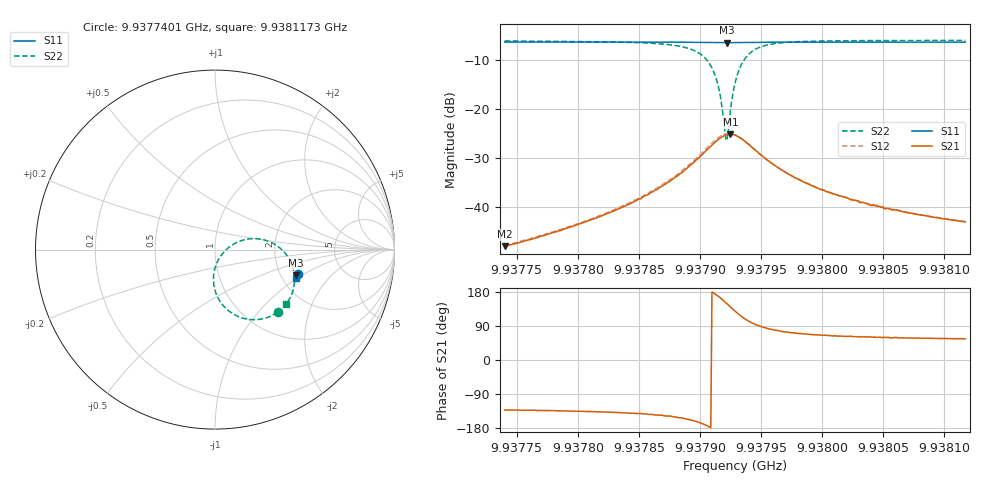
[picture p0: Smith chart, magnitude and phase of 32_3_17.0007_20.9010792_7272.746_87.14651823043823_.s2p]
#  HZ  S  RI  R  50.00
! Rohde & Schwarz Vector Network Analyzer
! Rohde-Schwarz,ZNB20-2Port,1311601062101988,3.16
! Created: UTC 3/20/2024, 10:53:27 PM
! freq[Hz]  re:S11  im:S11  re:S21  im:S21  re:S12  im:S12  re:S22  im:S22
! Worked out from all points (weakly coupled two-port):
!   401 points, 9.9377401 GHz to 9.9381173 GHz, reference 50 ohm
!   highest |S21| = -25.17 dB at 9.9379249 GHz (marker M1); lowest = -48.0 dB at 9.9377401 GHz (marker M2)
!   lowest |S11| = -6.5 dB at 9.9379221 GHz (marker M3), VSWR 2.80, Z = 121 - j44.9 ohm
!   |S11| at or under -10 dB: nowhere
!   |S22| runs from -26.4 to -6.0 dB; largest |S21 - S12| = 0.0045
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9.93774011e9  0.4623 -0.1348  -0.00265 -0.00299  -0.00272 -0.00297  0.3491 -0.3482
9.93780328e9  0.4603 -0.1394  -0.00489 -0.00478  -0.00508 -0.00484  0.3253 -0.3631
9.937841e9  0.459 -0.142  -0.00808 -0.0068  -0.00841 -0.00688  0.2946 -0.3771
9.93786646e9  0.4581 -0.1441  -0.0129 -0.00884  -0.0133 -0.00886  0.2513 -0.3881
9.93789191e9  0.4561 -0.1462  -0.0246 -0.01  -0.0256 -0.00979  0.1509 -0.3807
9.93790606e9  0.4538 -0.1467  -0.0384 -0.00418  -0.0405 -0.0026  0.0422 -0.3077
9.93790983e9  0.4531 -0.1466  -0.0428 0.000479  -0.0448 0.0025  0.0132 -0.2615
9.9379136e9  0.4525 -0.1461  -0.0468 0.00704  -0.0485 0.0101  -0.00614 -0.1978
9.93791643e9  0.452 -0.1454  -0.0485 0.0133  -0.0497 0.017  -0.00734 -0.1405
9.9379202e9  0.4518 -0.1446  -0.0484 0.0233  -0.0482 0.0275  0.0177 -0.0592
9.93792208e9  0.4518 -0.1442  -0.0465 0.0284  -0.0458 0.0327  0.0426 -0.0216
9.93792303e9  0.4519 -0.1439  -0.0455 0.0309  -0.0442 0.0351  0.0578 -0.00496
9.93792491e9  0.4521 -0.1433  -0.0423 0.0354  -0.0405 0.0392  0.0927 0.0236
9.93792868e9  0.4529 -0.1426  -0.0339 0.0421  -0.031 0.0449  0.1735 0.0568
9.93793151e9  0.4535 -0.1422  -0.0269 0.0446  -0.0238 0.0465  0.2334 0.0605
9.93793529e9  0.4544 -0.1423  -0.018 0.045  -0.0151 0.0458  0.3016 0.0448
9.93794566e9  0.4562 -0.1435  -0.00234 0.0376  -0.000484 0.0374  0.4059 -0.0406
9.93796546e9  0.457 -0.1463  0.00575 0.0238  0.00644 0.0237  0.4436 -0.1599
9.93799186e9  0.4565 -0.149  0.00647 0.0151  0.00678 0.0152  0.4342 -0.229
9.93802392e9  0.4558 -0.1515  0.00537 0.0105  0.00593 0.0104  0.4201 -0.2656
9.93805503e9  0.4549 -0.1538  0.00489 0.00824  0.00511 0.00821  0.4096 -0.2842
9.93811726e9  0.4532 -0.1581  0.00392 0.00585  0.00408 0.00584  0.3957 -0.3046
